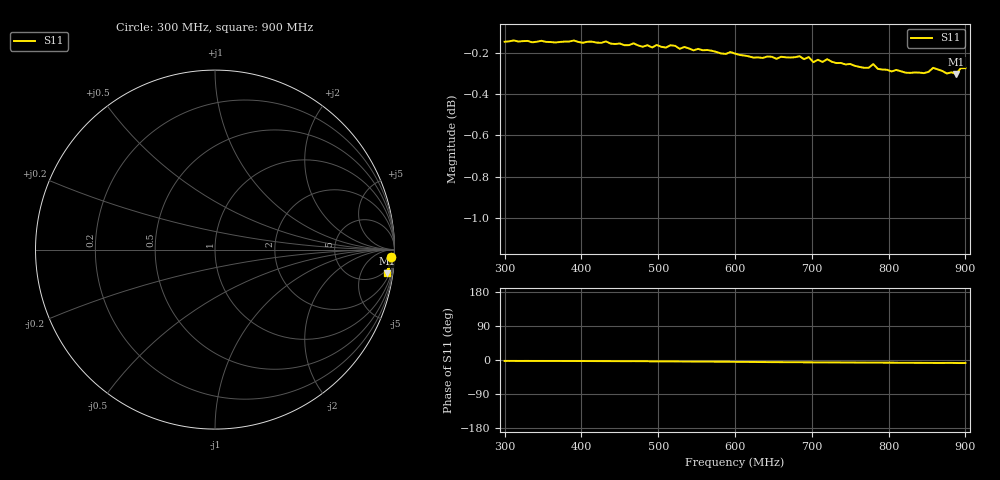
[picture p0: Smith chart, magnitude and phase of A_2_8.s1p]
# HZ S RI R 50
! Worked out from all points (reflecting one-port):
!   101 points, 300 MHz to 900 MHz, reference 50 ohm
!   lowest |S11| = -0.3 dB at 888 MHz (marker M1), VSWR 57.73, Z = 171 - j680 ohm
!   phase of S11 starts at -2 deg and turns -5 deg over the sweep
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3e8  0.9826 -0.0422
3.78e8  0.9826 -0.0452
4.5e8  0.9812 -0.0519
4.62e8  0.9802 -0.0541
4.68e8  0.9814 -0.0505
4.74e8  0.9799 -0.0551
5.1e8  0.9783 -0.0622
5.16e8  0.9796 -0.0626
5.28e8  0.9774 -0.0659
6e8  0.9736 -0.0818
6.48e8  0.9706 -0.0958
6.54e8  0.9694 -0.0956
6.78e8  0.9697 -0.1013
6.84e8  0.9704 -0.1006
6.9e8  0.9685 -0.1031
6.96e8  0.9696 -0.1037
7.02e8  0.9665 -0.106
7.2e8  0.968 -0.108
7.5e8  0.9649 -0.1122
7.74e8  0.9622 -0.1166
7.8e8  0.9641 -0.118
7.86e8  0.9615 -0.1177
8.28e8  0.9585 -0.1243
8.64e8  0.9595 -0.1315
8.82e8  0.9582 -0.129
8.88e8  0.9568 -0.1329
8.94e8  0.9595 -0.1358
9e8  0.9599 -0.1332
